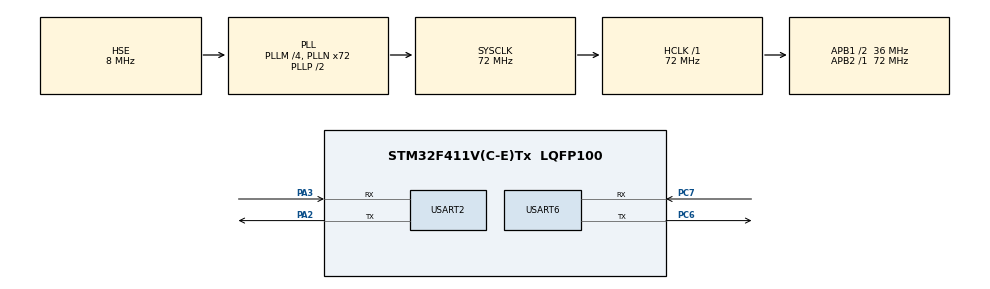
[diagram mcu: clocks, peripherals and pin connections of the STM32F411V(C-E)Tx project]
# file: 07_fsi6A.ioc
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Dma.Request0=USART6_RX
Dma.USART6_RX.0.Direction=DMA_PERIPH_TO_MEMORY
Dma.USART6_RX.0.FIFOMode=DMA_FIFOMODE_DISABLE
Dma.USART6_RX.0.Instance=DMA2_Stream1
Dma.USART6_RX.0.MemDataAlignment=DMA_MDATAALIGN_BYTE
Dma.USART6_RX.0.MemInc=DMA_MINC_ENABLE
Dma.USART6_RX.0.Mode=DMA_CIRCULAR
Dma.USART6_RX.0.PeriphDataAlignment=DMA_PDATAALIGN_BYTE
Dma.USART6_RX.0.PeriphInc=DMA_PINC_DISABLE
Dma.USART6_RX.0.Priority=DMA_PRIORITY_LOW
Mcu.Family=STM32F4
Mcu.Name=STM32F411V(C-E)Tx
Mcu.Package=LQFP100
NVIC.DMA2_Stream1_IRQn=true\:0\:0\:false\:false\:true\:false\:true\:true
NVIC.PriorityGroup=NVIC_PRIORITYGROUP_4
NVIC.USART2_IRQn=true\:0\:0\:false\:false\:true\:true\:true\:true
NVIC.USART6_IRQn=true\:0\:0\:false\:false\:true\:true\:true\:true
PA2.Mode=Asynchronous
PA2.Signal=USART2_TX
PA3.Mode=Asynchronous
PA3.Signal=USART2_RX
PC14-OSC32_IN.Mode=LSE-External-Oscillator
PC14-OSC32_IN.Signal=RCC_OSC32_IN
PC15-OSC32_OUT.Mode=LSE-External-Oscillator
PC15-OSC32_OUT.Signal=RCC_OSC32_OUT
PC6.Mode=Asynchronous
PC6.Signal=USART6_TX
PC7.Mode=Asynchronous
PC7.Signal=USART6_RX
PH0\ -\ OSC_IN.Mode=HSE-External-Oscillator
PH0\ -\ OSC_IN.Signal=RCC_OSC_IN
PH1\ -\ OSC_OUT.Mode=HSE-External-Oscillator
PH1\ -\ OSC_OUT.Signal=RCC_OSC_OUT
ProjectManager.HeapSize=0x200
ProjectManager.StackSize=0x400
ProjectManager.TargetToolchain=MDK-ARM V5.32
RCC.48MHZClocksFreq_Value=36000000
RCC.AHBFreq_Value=72000000
RCC.APB1CLKDivider=RCC_HCLK_DIV2
RCC.APB1Freq_Value=36000000
RCC.APB1TimFreq_Value=72000000
RCC.APB2Freq_Value=72000000
RCC.APB2TimFreq_Value=72000000
RCC.CortexFreq_Value=72000000
RCC.HCLKFreq_Value=72000000
RCC.HSE_VALUE=8000000
RCC.HSI_VALUE=16000000
RCC.PLLM=4
RCC.PLLN=72
RCC.PLLSourceVirtual=RCC_PLLSOURCE_HSE
RCC.SYSCLKFreq_VALUE=72000000
RCC.SYSCLKSource=RCC_SYSCLKSOURCE_PLLCLK
RCC.VCOOutputFreq_Value=144000000
USART2.VirtualMode=VM_ASYNC
USART6.VirtualMode=VM_ASYNC
board=custom

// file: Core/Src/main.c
/* USER CODE BEGIN Header */
/**
  ******************************************************************************
  * @file           : main.c
  * @brief          : Main program body
  ******************************************************************************
  * @attention
  *
  * Copyright (c) 2025 STMicroelectronics.
  * All rights reserved.
  *
  * This software is licensed under terms that can be found in the LICENSE file
  * in the root directory of this software component.
  * If no LICENSE file comes with this software, it is provided AS-IS.
  *
  ******************************************************************************
  */
/* USER CODE END Header */
#include <stdio.h>
#include "main.h"
#include "dma.h"
#include "usart.h"
#include "gpio.h"

void SystemClock_Config(void);
/* USER CODE BEGIN PFP */
#include <stdio.h>
#include <string.h>

#define PUTCHAR_PROTOTYPE int __io_putchar(int ch)
PUTCHAR_PROTOTYPE
{
  /* Place your implementation of fputc here */
  /* e.g. write a character to the USART1 and Loop until the end of transmission */
  HAL_UART_Transmit(&huart2, (uint8_t *)&ch, 1, 0xFFFF);

  return ch;
}

FILE __stdout;

int fputc(int ch, FILE *f){
	HAL_UART_Transmit(&huart2, (uint8_t *)&ch, 1, 0xFFFF);
  return ch;
}

int ferror(FILE *f){
  /* Your implementation of ferror(). */
  return 0;
}

/* USER CODE END PFP */

/* USER CODE BEGIN 0 */

#define IBUS_FRAME_SIZE 32
uint8_t ibus_buffer[IBUS_FRAME_SIZE]={};
uint16_t ibus_channels[10]={};
int idx=0, ibus_idx =0;
int count=0;

void IBUS_Init() {
    HAL_UARTEx_ReceiveToIdle_IT(&huart6, ibus_buffer, IBUS_FRAME_SIZE);
}

void IBUS_get_ch() {
    printf("CH1:%d  CH2:%d  CH3:%d  CH4:%d  CH5:%d  CH6:%d\n",
            ibus_channels[0], ibus_channels[1], ibus_channels[2],
            ibus_channels[3], ibus_channels[4], ibus_channels[5]);
}

void IBUS_Parse() {
    if (ibus_buffer[0] != 0x20 || ibus_buffer[1] != 0x40) {
        return;
    }

    uint8_t checksum = 0;
    for (int i = 0; i < 31; i++) {
        checksum += ibus_buffer[i];
			  //printf("%d: %02x ", i, ibus_buffer[i]);
    }
		//printf("\n");

		//printf("CRC = %d, b[31] = %d \n", checksum, ibus_buffer[31]);
    //if (checksum == ibus_buffer[31]) {
        for (int i = 0; i < 10; i++) {  // ??? 10 ???
            ibus_channels[i] = ibus_buffer[4 + (i * 2)] | (ibus_buffer[3 + (i * 2)] << 8);
        }

        //printf("CH1:%d  CH2:%d  CH3:%d  CH4:%d  CH5:%d  CH6:%d\n",
        //    ibus_channels[0], ibus_channels[1], ibus_channels[2],
        //    ibus_channels[3], ibus_channels[4], ibus_channels[5]);
    //}
}

void HAL_UARTEx_RxEventCallback(UART_HandleTypeDef *huart, uint16_t size)
{
	if (huart->Instance == USART2){
		idx = size;
	}else if (huart->Instance == USART6){
		ibus_idx = size;

		if(count % 100 == 0){
			IBUS_Parse();
		}

		//printf("666\n");
		memset(&ibus_buffer, 0, sizeof(ibus_buffer));
		IBUS_Init();
		count++;
	}
}

/* USER CODE END 0 */

int main(void)
{

  /* MCU Configuration--------------------------------------------------------*/

  /* Reset of all peripherals, Initializes the Flash interface and the Systick. */
  HAL_Init();

  /* Configure the system clock */
  SystemClock_Config();

  /* Initialize all configured peripherals */
  MX_GPIO_Init();
  MX_DMA_Init();
  MX_USART2_UART_Init();
  MX_USART6_UART_Init();
  /* USER CODE BEGIN 2 */
  printf("FS-i6A test start \n");

	IBUS_Init();
  /* USER CODE END 2 */

  /* Infinite loop */
  while (1)
  {
		//IBUS_Parse();
    /* USER CODE BEGIN 3 */
	  IBUS_get_ch();
		HAL_Delay(200);
  }
  /* USER CODE END 3 */
}

void SystemClock_Config(void)
{
  RCC_OscInitTypeDef RCC_OscInitStruct = {0};
  RCC_ClkInitTypeDef RCC_ClkInitStruct = {0};

  /** Configure the main internal regulator output voltage
  */
  __HAL_RCC_PWR_CLK_ENABLE();
  __HAL_PWR_VOLTAGESCALING_CONFIG(PWR_REGULATOR_VOLTAGE_SCALE1);

  /** Initializes the RCC Oscillators according to the specified parameters
  * in the RCC_OscInitTypeDef structure.
  */
  RCC_OscInitStruct.OscillatorType = RCC_OSCILLATORTYPE_HSE;
  RCC_OscInitStruct.HSEState = RCC_HSE_ON;
  RCC_OscInitStruct.PLL.PLLState = RCC_PLL_ON;
  RCC_OscInitStruct.PLL.PLLSource = RCC_PLLSOURCE_HSE;
  RCC_OscInitStruct.PLL.PLLM = 4;
  RCC_OscInitStruct.PLL.PLLN = 72;
  RCC_OscInitStruct.PLL.PLLP = RCC_PLLP_DIV2;
  RCC_OscInitStruct.PLL.PLLQ = 4;
  if (HAL_RCC_OscConfig(&RCC_OscInitStruct) != HAL_OK)
  {
    Error_Handler();
  }

  /** Initializes the CPU, AHB and APB buses clocks
  */
  RCC_ClkInitStruct.ClockType = RCC_CLOCKTYPE_HCLK|RCC_CLOCKTYPE_SYSCLK
                              |RCC_CLOCKTYPE_PCLK1|RCC_CLOCKTYPE_PCLK2;
  RCC_ClkInitStruct.SYSCLKSource = RCC_SYSCLKSOURCE_PLLCLK;
  RCC_ClkInitStruct.AHBCLKDivider = RCC_SYSCLK_DIV1;
  RCC_ClkInitStruct.APB1CLKDivider = RCC_HCLK_DIV2;
  RCC_ClkInitStruct.APB2CLKDivider = RCC_HCLK_DIV1;

  if (HAL_RCC_ClockConfig(&RCC_ClkInitStruct, FLASH_LATENCY_2) != HAL_OK)
  {
    Error_Handler();
  }
}

void Error_Handler(void)
{
  __disable_irq();
  while (1)
  {
  }
}
